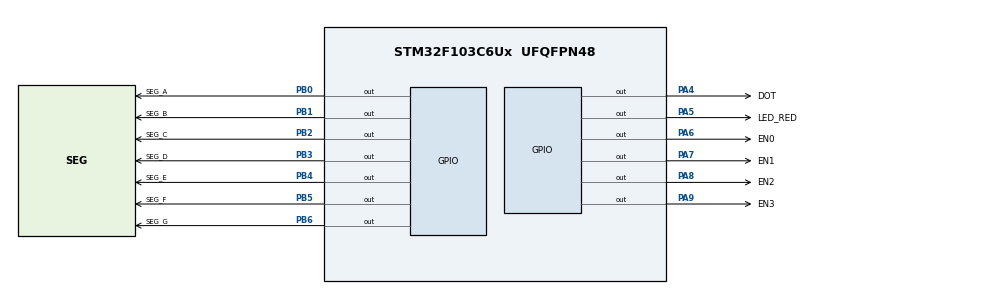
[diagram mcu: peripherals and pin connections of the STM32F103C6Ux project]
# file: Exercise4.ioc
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Mcu.Family=STM32F1
Mcu.Name=STM32F103C6Ux
Mcu.Package=UFQFPN48
NVIC.PriorityGroup=NVIC_PRIORITYGROUP_4
NVIC.TIM2_IRQn=true\:0\:0\:false\:false\:true\:true\:true
PA4.GPIO_Label=DOT
PA4.PinState=GPIO_PIN_SET
PA4.Signal=GPIO_Output
PA5.GPIO_Label=LED_RED
PA5.PinState=GPIO_PIN_SET
PA5.Signal=GPIO_Output
PA6.GPIO_Label=EN0
PA6.PinState=GPIO_PIN_SET
PA6.Signal=GPIO_Output
PA7.GPIO_Label=EN1
PA7.PinState=GPIO_PIN_SET
PA7.Signal=GPIO_Output
PA8.GPIO_Label=EN2
PA8.PinState=GPIO_PIN_SET
PA8.Signal=GPIO_Output
PA9.GPIO_Label=EN3
PA9.PinState=GPIO_PIN_SET
PA9.Signal=GPIO_Output
PB0.GPIO_Label=SEG_A
PB0.PinState=GPIO_PIN_SET
PB0.Signal=GPIO_Output
PB1.GPIO_Label=SEG_B
PB1.PinState=GPIO_PIN_SET
PB1.Signal=GPIO_Output
PB2.GPIO_Label=SEG_C
PB2.PinState=GPIO_PIN_SET
PB2.Signal=GPIO_Output
PB3.GPIO_Label=SEG_D
PB3.PinState=GPIO_PIN_SET
PB3.Signal=GPIO_Output
PB4.GPIO_Label=SEG_E
PB4.PinState=GPIO_PIN_SET
PB4.Signal=GPIO_Output
PB5.GPIO_Label=SEG_F
PB5.PinState=GPIO_PIN_SET
PB5.Signal=GPIO_Output
PB6.GPIO_Label=SEG_G
PB6.PinState=GPIO_PIN_SET
PB6.Signal=GPIO_Output
ProjectManager.HeapSize=0x200
ProjectManager.StackSize=0x400
ProjectManager.TargetToolchain=STM32CubeIDE
RCC.APB1Freq_Value=8000000
RCC.APB2Freq_Value=8000000
TIM2.Prescaler=7999
VP_SYS_VS_ND.Mode=No_Debug
VP_TIM2_VS_ClockSourceINT.Mode=Internal
board=custom

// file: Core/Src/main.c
/* USER CODE BEGIN Header */
/**
  * @file           : main.c
  * @brief          : Exercise 4 - scan frequency 1Hz
  */
/* USER CODE END Header */
#include "main.h"

TIM_HandleTypeDef htim2;

/* USER CODE BEGIN PV */
const int MAX_LED = 4;
int index_led = 0;
int led_buffer[4] = {1, 2, 3, 4};

int counter = 0;          // dem so lan ngat cho 7SEG
int single_led_counter = 0;  // dem so lan ngat cho DOT
/* USER CODE END PV */

void SystemClock_Config(void);
static void MX_GPIO_Init(void);
static void MX_TIM2_Init(void);
/* USER CODE BEGIN PFP */
void display7SEG(int num);
void update7SEG(int index);
/* USER CODE END PFP */

int main(void)
{

  HAL_Init();

  SystemClock_Config();

  MX_GPIO_Init();
  MX_TIM2_Init();
  /* USER CODE BEGIN 2 */
  HAL_TIM_Base_Start_IT(&htim2);
  /* USER CODE END 2 */

  while (1)
  {

  }
}

void SystemClock_Config(void)
{
  RCC_OscInitTypeDef RCC_OscInitStruct = {0};
  RCC_ClkInitTypeDef RCC_ClkInitStruct = {0};

  RCC_OscInitStruct.OscillatorType = RCC_OSCILLATORTYPE_HSI;
  RCC_OscInitStruct.HSIState = RCC_HSI_ON;
  RCC_OscInitStruct.HSICalibrationValue = RCC_HSICALIBRATION_DEFAULT;
  RCC_OscInitStruct.PLL.PLLState = RCC_PLL_NONE;
  if (HAL_RCC_OscConfig(&RCC_OscInitStruct) != HAL_OK)
  {
    Error_Handler();
  }
  RCC_ClkInitStruct.ClockType = RCC_CLOCKTYPE_HCLK|RCC_CLOCKTYPE_SYSCLK
                              |RCC_CLOCKTYPE_PCLK1|RCC_CLOCKTYPE_PCLK2;
  RCC_ClkInitStruct.SYSCLKSource = RCC_SYSCLKSOURCE_HSI;
  RCC_ClkInitStruct.AHBCLKDivider = RCC_SYSCLK_DIV1;
  RCC_ClkInitStruct.APB1CLKDivider = RCC_HCLK_DIV1;
  RCC_ClkInitStruct.APB2CLKDivider = RCC_HCLK_DIV1;

  if (HAL_RCC_ClockConfig(&RCC_ClkInitStruct, FLASH_LATENCY_0) != HAL_OK)
  {
    Error_Handler();
  }
}

static void MX_TIM2_Init(void)
{
  TIM_ClockConfigTypeDef sClockSourceConfig = {0};
  TIM_MasterConfigTypeDef sMasterConfig = {0};

  htim2.Instance = TIM2;
  htim2.Init.Prescaler = 7999;
  htim2.Init.CounterMode = TIM_COUNTERMODE_UP;
  htim2.Init.Period = 9;
  htim2.Init.ClockDivision = TIM_CLOCKDIVISION_DIV1;
  htim2.Init.AutoReloadPreload = TIM_AUTORELOAD_PRELOAD_DISABLE;
  if (HAL_TIM_Base_Init(&htim2) != HAL_OK)
  {
    Error_Handler();
  }
  sClockSourceConfig.ClockSource = TIM_CLOCKSOURCE_INTERNAL;
  if (HAL_TIM_ConfigClockSource(&htim2, &sClockSourceConfig) != HAL_OK)
  {
    Error_Handler();
  }
  sMasterConfig.MasterOutputTrigger = TIM_TRGO_RESET;
  sMasterConfig.MasterSlaveMode = TIM_MASTERSLAVEMODE_DISABLE;
  if (HAL_TIMEx_MasterConfigSynchronization(&htim2, &sMasterConfig) != HAL_OK)
  {
    Error_Handler();
  }
}

static void MX_GPIO_Init(void)
{
  GPIO_InitTypeDef GPIO_InitStruct = {0};

  __HAL_RCC_GPIOA_CLK_ENABLE();
  __HAL_RCC_GPIOB_CLK_ENABLE();

  HAL_GPIO_WritePin(GPIOA, DOT_Pin|LED_RED_Pin|EN0_Pin|EN1_Pin
                          |EN2_Pin|EN3_Pin, GPIO_PIN_SET);

  HAL_GPIO_WritePin(GPIOB, SEG_A_Pin|SEG_B_Pin|SEG_C_Pin|SEG_D_Pin
                          |SEG_E_Pin|SEG_F_Pin|SEG_G_Pin, GPIO_PIN_SET);

  GPIO_InitStruct.Pin = DOT_Pin|LED_RED_Pin|EN0_Pin|EN1_Pin
                          |EN2_Pin|EN3_Pin;
  GPIO_InitStruct.Mode = GPIO_MODE_OUTPUT_PP;
  GPIO_InitStruct.Pull = GPIO_NOPULL;
  GPIO_InitStruct.Speed = GPIO_SPEED_FREQ_LOW;
  HAL_GPIO_Init(GPIOA, &GPIO_InitStruct);

  GPIO_InitStruct.Pin = SEG_A_Pin|SEG_B_Pin|SEG_C_Pin|SEG_D_Pin
                          |SEG_E_Pin|SEG_F_Pin|SEG_G_Pin;
  GPIO_InitStruct.Mode = GPIO_MODE_OUTPUT_PP;
  GPIO_InitStruct.Pull = GPIO_NOPULL;
  GPIO_InitStruct.Speed = GPIO_SPEED_FREQ_LOW;
  HAL_GPIO_Init(GPIOB, &GPIO_InitStruct);
}

/* USER CODE BEGIN 4 */

// display7SEG tu Lab 1 (common anode: RESET = sang)
void display7SEG(int num)
{
    if (num == 0) {
        HAL_GPIO_WritePin(GPIOB, SEG_A_Pin, GPIO_PIN_RESET);
        HAL_GPIO_WritePin(GPIOB, SEG_B_Pin, GPIO_PIN_RESET);
        HAL_GPIO_WritePin(GPIOB, SEG_C_Pin, GPIO_PIN_RESET);
        HAL_GPIO_WritePin(GPIOB, SEG_D_Pin, GPIO_PIN_RESET);
        HAL_GPIO_WritePin(GPIOB, SEG_E_Pin, GPIO_PIN_RESET);
        HAL_GPIO_WritePin(GPIOB, SEG_F_Pin, GPIO_PIN_RESET);
        HAL_GPIO_WritePin(GPIOB, SEG_G_Pin, GPIO_PIN_SET);
    }
    else if (num == 1) {
        HAL_GPIO_WritePin(GPIOB, SEG_A_Pin, GPIO_PIN_SET);
        HAL_GPIO_WritePin(GPIOB, SEG_B_Pin, GPIO_PIN_RESET);
        HAL_GPIO_WritePin(GPIOB, SEG_C_Pin, GPIO_PIN_RESET);
        HAL_GPIO_WritePin(GPIOB, SEG_D_Pin, GPIO_PIN_SET);
        HAL_GPIO_WritePin(GPIOB, SEG_E_Pin, GPIO_PIN_SET);
        HAL_GPIO_WritePin(GPIOB, SEG_F_Pin, GPIO_PIN_SET);
        HAL_GPIO_WritePin(GPIOB, SEG_G_Pin, GPIO_PIN_SET);
    }
    else if (num == 2) {
        HAL_GPIO_WritePin(GPIOB, SEG_A_Pin, GPIO_PIN_RESET);
        HAL_GPIO_WritePin(GPIOB, SEG_B_Pin, GPIO_PIN_RESET);
        HAL_GPIO_WritePin(GPIOB, SEG_C_Pin, GPIO_PIN_SET);
        HAL_GPIO_WritePin(GPIOB, SEG_D_Pin, GPIO_PIN_RESET);
        HAL_GPIO_WritePin(GPIOB, SEG_E_Pin, GPIO_PIN_RESET);
        HAL_GPIO_WritePin(GPIOB, SEG_F_Pin, GPIO_PIN_SET);
        HAL_GPIO_WritePin(GPIOB, SEG_G_Pin, GPIO_PIN_RESET);
    }
    else if (num == 3) {
        HAL_GPIO_WritePin(GPIOB, SEG_A_Pin, GPIO_PIN_RESET);
        HAL_GPIO_WritePin(GPIOB, SEG_B_Pin, GPIO_PIN_RESET);
        HAL_GPIO_WritePin(GPIOB, SEG_C_Pin, GPIO_PIN_RESET);
        HAL_GPIO_WritePin(GPIOB, SEG_D_Pin, GPIO_PIN_RESET);
        HAL_GPIO_WritePin(GPIOB, SEG_E_Pin, GPIO_PIN_SET);
        HAL_GPIO_WritePin(GPIOB, SEG_F_Pin, GPIO_PIN_SET);
        HAL_GPIO_WritePin(GPIOB, SEG_G_Pin, GPIO_PIN_RESET);
    }
    else if (num == 4) {
        HAL_GPIO_WritePin(GPIOB, SEG_A_Pin, GPIO_PIN_SET);
        HAL_GPIO_WritePin(GPIOB, SEG_B_Pin, GPIO_PIN_RESET);
        HAL_GPIO_WritePin(GPIOB, SEG_C_Pin, GPIO_PIN_RESET);
        HAL_GPIO_WritePin(GPIOB, SEG_D_Pin, GPIO_PIN_SET);
        HAL_GPIO_WritePin(GPIOB, SEG_E_Pin, GPIO_PIN_SET);
        HAL_GPIO_WritePin(GPIOB, SEG_F_Pin, GPIO_PIN_RESET);
        HAL_GPIO_WritePin(GPIOB, SEG_G_Pin, GPIO_PIN_RESET);
    }
    else if (num == 5) {
        HAL_GPIO_WritePin(GPIOB, SEG_A_Pin, GPIO_PIN_RESET);
        HAL_GPIO_WritePin(GPIOB, SEG_B_Pin, GPIO_PIN_SET);
        HAL_GPIO_WritePin(GPIOB, SEG_C_Pin, GPIO_PIN_RESET);
        HAL_GPIO_WritePin(GPIOB, SEG_D_Pin, GPIO_PIN_RESET);
        HAL_GPIO_WritePin(GPIOB, SEG_E_Pin, GPIO_PIN_SET);
        HAL_GPIO_WritePin(GPIOB, SEG_F_Pin, GPIO_PIN_RESET);
        HAL_GPIO_WritePin(GPIOB, SEG_G_Pin, GPIO_PIN_RESET);
    }
    else if (num == 6) {
        HAL_GPIO_WritePin(GPIOB, SEG_A_Pin, GPIO_PIN_RESET);
        HAL_GPIO_WritePin(GPIOB, SEG_B_Pin, GPIO_PIN_SET);
        HAL_GPIO_WritePin(GPIOB, SEG_C_Pin, GPIO_PIN_RESET);
        HAL_GPIO_WritePin(GPIOB, SEG_D_Pin, GPIO_PIN_RESET);
        HAL_GPIO_WritePin(GPIOB, SEG_E_Pin, GPIO_PIN_RESET);
        HAL_GPIO_WritePin(GPIOB, SEG_F_Pin, GPIO_PIN_RESET);
        HAL_GPIO_WritePin(GPIOB, SEG_G_Pin, GPIO_PIN_RESET);
    }
    else if (num == 7) {
        HAL_GPIO_WritePin(GPIOB, SEG_A_Pin, GPIO_PIN_RESET);
        HAL_GPIO_WritePin(GPIOB, SEG_B_Pin, GPIO_PIN_RESET);
        HAL_GPIO_WritePin(GPIOB, SEG_C_Pin, GPIO_PIN_RESET);
        HAL_GPIO_WritePin(GPIOB, SEG_D_Pin, GPIO_PIN_SET);
        HAL_GPIO_WritePin(GPIOB, SEG_E_Pin, GPIO_PIN_SET);
        HAL_GPIO_WritePin(GPIOB, SEG_F_Pin, GPIO_PIN_SET);
        HAL_GPIO_WritePin(GPIOB, SEG_G_Pin, GPIO_PIN_SET);
    }
    else if (num == 8) {
        HAL_GPIO_WritePin(GPIOB, SEG_A_Pin, GPIO_PIN_RESET);
        HAL_GPIO_WritePin(GPIOB, SEG_B_Pin, GPIO_PIN_RESET);
        HAL_GPIO_WritePin(GPIOB, SEG_C_Pin, GPIO_PIN_RESET);
        HAL_GPIO_WritePin(GPIOB, SEG_D_Pin, GPIO_PIN_RESET);
        HAL_GPIO_WritePin(GPIOB, SEG_E_Pin, GPIO_PIN_RESET);
        HAL_GPIO_WritePin(GPIOB, SEG_F_Pin, GPIO_PIN_RESET);
        HAL_GPIO_WritePin(GPIOB, SEG_G_Pin, GPIO_PIN_RESET);
    }
    else if (num == 9) {
        HAL_GPIO_WritePin(GPIOB, SEG_A_Pin, GPIO_PIN_RESET);
        HAL_GPIO_WritePin(GPIOB, SEG_B_Pin, GPIO_PIN_RESET);
        HAL_GPIO_WritePin(GPIOB, SEG_C_Pin, GPIO_PIN_RESET);
        HAL_GPIO_WritePin(GPIOB, SEG_D_Pin, GPIO_PIN_RESET);
        HAL_GPIO_WritePin(GPIOB, SEG_E_Pin, GPIO_PIN_SET);
        HAL_GPIO_WritePin(GPIOB, SEG_F_Pin, GPIO_PIN_RESET);
        HAL_GPIO_WritePin(GPIOB, SEG_G_Pin, GPIO_PIN_RESET);
    }
    else {
        HAL_GPIO_WritePin(GPIOB, SEG_A_Pin, GPIO_PIN_SET);
        HAL_GPIO_WritePin(GPIOB, SEG_B_Pin, GPIO_PIN_SET);
        HAL_GPIO_WritePin(GPIOB, SEG_C_Pin, GPIO_PIN_SET);
        HAL_GPIO_WritePin(GPIOB, SEG_D_Pin, GPIO_PIN_SET);
        HAL_GPIO_WritePin(GPIOB, SEG_E_Pin, GPIO_PIN_SET);
        HAL_GPIO_WritePin(GPIOB, SEG_F_Pin, GPIO_PIN_SET);
        HAL_GPIO_WritePin(GPIOB, SEG_G_Pin, GPIO_PIN_SET);
    }
}

void update7SEG(int index)
{
    // tat het 4 LED roi bat LED can hien
    HAL_GPIO_WritePin(GPIOA, EN0_Pin|EN1_Pin|EN2_Pin|EN3_Pin, GPIO_PIN_SET);
    switch (index) {
        case 0:
            display7SEG(led_buffer[0]);
            HAL_GPIO_WritePin(EN0_GPIO_Port, EN0_Pin, GPIO_PIN_RESET);
            break;
        case 1:
            display7SEG(led_buffer[1]);
            HAL_GPIO_WritePin(EN1_GPIO_Port, EN1_Pin, GPIO_PIN_RESET);
            break;
        case 2:
            display7SEG(led_buffer[2]);
            HAL_GPIO_WritePin(EN2_GPIO_Port, EN2_Pin, GPIO_PIN_RESET);
            break;
        case 3:
            display7SEG(led_buffer[3]);
            HAL_GPIO_WritePin(EN3_GPIO_Port, EN3_Pin, GPIO_PIN_RESET);
            break;
        default:
            break;
    }
}

// Report 1: HAL_TIM_PeriodElapsedCallback (Bai 4)
void HAL_TIM_PeriodElapsedCallback(TIM_HandleTypeDef *htim)
{
    if (htim->Instance != TIM2) return;

    // 4 LED 7 doan: moi LED 250ms (25 x 10ms) -> tan so quet 1Hz
    counter++;
    if (counter >= 25) {
        counter = 0;
        update7SEG(index_led++);
        if (index_led >= MAX_LED) index_led = 0;
    }

    // DOT (PA4): doi trang thai moi 1s (100 x 10ms)
    single_led_counter++;
    if (single_led_counter >= 100) {
        single_led_counter = 0;
        HAL_GPIO_TogglePin(DOT_GPIO_Port, DOT_Pin);
    }
}
/* USER CODE END 4 */

void Error_Handler(void)
{
  __disable_irq();
  while (1)
  {
  }
}
